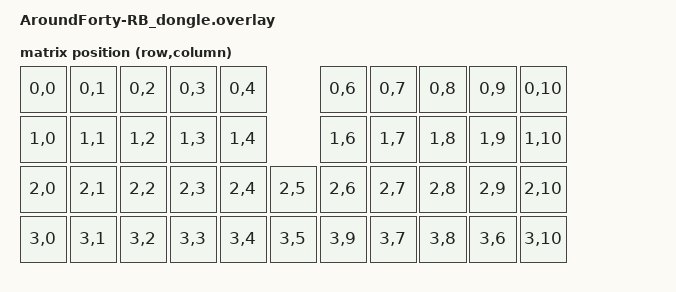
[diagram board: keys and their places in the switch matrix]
#include <dt-bindings/zmk/matrix_transform.h>
#include <input/processors.dtsi>
#include <zephyr/dt-bindings/input/input-event-codes.h>
#include <dt-bindings/zmk/input_transform.h>

/ {
    chosen {
        zmk,kscan = &mock_kscan;
        zmk,physical-layout = &physical_layout0;  // New item added
    };

    mock_kscan: mock_kscan_0 {
        compatible = "zmk,kscan-mock";
        columns = <0>;
        rows = <0>;
        events = <0>;
    };
};
/{
    default_transform: keymap_transform_0 {
        compatible = "zmk,matrix-transform";
        columns = <11>;
        rows = <4>;               
        map = <
            RC(0,0) RC(0,1) RC(0,2) RC(0,3) RC(0,4)                        RC(0,6) RC(0,7) RC(0,8) RC(0,9) RC(0,10)
            RC(1,0) RC(1,1) RC(1,2) RC(1,3) RC(1,4)                        RC(1,6) RC(1,7) RC(1,8) RC(1,9) RC(1,10)
            RC(2,0) RC(2,1) RC(2,2) RC(2,3) RC(2,4) RC(2,5)                RC(2,6) RC(2,7) RC(2,8) RC(2,9) RC(2,10)
            RC(3,0) RC(3,1) RC(3,2) RC(3,3) RC(3,4) RC(3,5)                RC(3,9) RC(3,7) RC(3,8) RC(3,6) RC(3,10)         
        >;
    };
};
/ {
    physical_layout0: physical_layout_0 {
        compatible = "zmk,physical-layout";
        display-name = "Default Layout";
        transform = <&default_transform>;
    };
};

/ {
    split_inputs {
        #address-cells = <1>;
        #size-cells = <0>;

        trackball_split: trackball_split@0 {
            compatible = "zmk,input-split";
            reg = <0>;
        };
    };

    trackball_listener: trackball_listener {
        compatible = "zmk,input-listener";
        status = "okay";
        device = <&trackball_split>;
        input-processors = <&zip_xy_transform (INPUT_TRANSFORM_X_INVERT)>, <&zip_temp_layer 9 100000>;

        scroll_override {
            layers = <2 5>;
            input-processors = <&zip_xy_to_scroll_mapper>, <&zip_scroll_scaler 1 12>;
            process-next;
        };
    };
};
